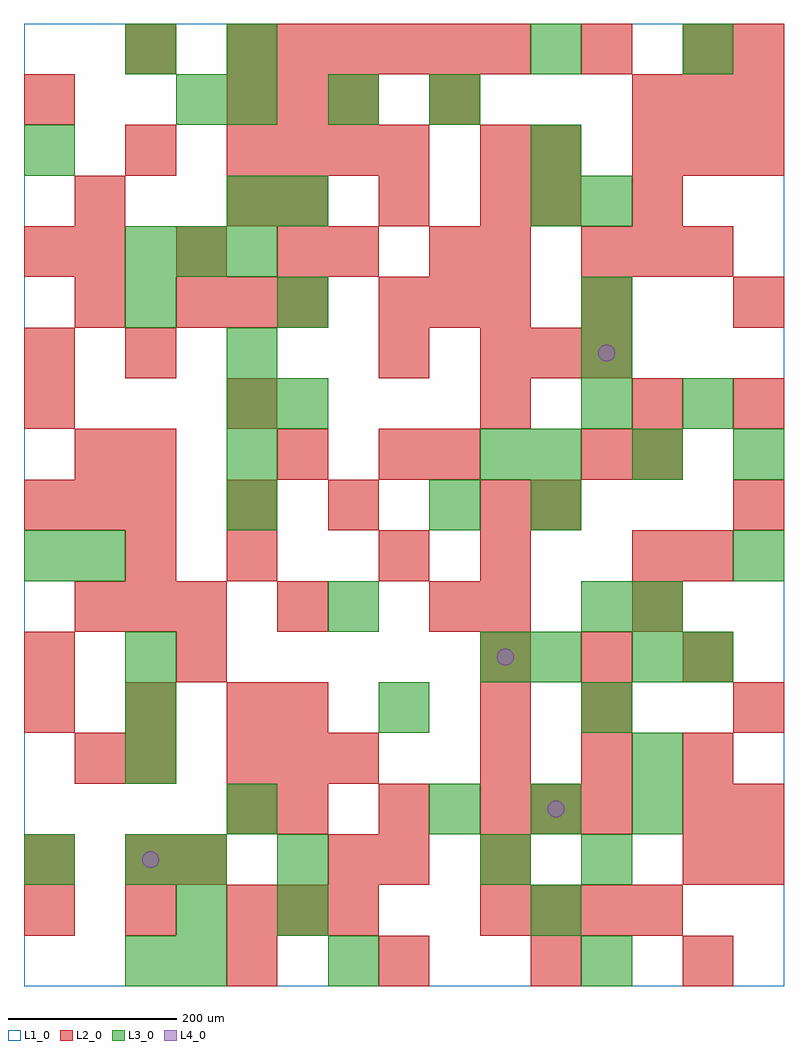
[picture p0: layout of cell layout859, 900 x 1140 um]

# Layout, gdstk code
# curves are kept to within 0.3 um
import gdstk
lib = gdstk.Library(unit=1e-6, precision=1e-09)
def R(c, l, rs):  # rectangles x0, y0, x1, y1
    for r in rs: c.add(gdstk.rectangle(r[:2], r[2:], *l))
def A(c, l, x, y, w, h, nx, ny, dx, dy):  # array of equal rectangles
    R(c, l, [(x+i*dx, y+j*dy, x+i*dx+w, y+j*dy+h) for i in range(nx) for j in range(ny)])
def P(c, l, *ps):  # polygons
    for p in ps: c.add(gdstk.Polygon(p, *l))
L1_0 = (1, 0)
L2_0 = (2, 0)
L3_0 = (3, 0)
L4_0 = (4, 0)

layout859 = lib.new_cell('layout859')
R(layout859, L1_0, [(0,0,900,1140)])
A(layout859, L2_0, 240, 0, 60, 60, 4, 1, 180, 0)
A(layout859, L2_0, 0, 60, 60, 60, 3, 2, 120, 240)
A(layout859, L2_0, 540, 60, 60, 60, 4, 1, 60, 0)
A(layout859, L2_0, 300, 180, 60, 60, 3, 2, 120, 720)
A(layout859, L2_0, 600, 180, 60, 60, 1, 3, 0, 360)
A(layout859, L2_0, 240, 240, 60, 60, 3, 2, 60, 780)
A(layout859, L2_0, 540, 240, 60, 60, 3, 2, 120, 120)
A(layout859, L2_0, 60, 420, 60, 60, 3, 1, 60, 0)
A(layout859, L2_0, 540, 420, 60, 60, 1, 3, 0, 60)
A(layout859, L2_0, 120, 480, 60, 60, 1, 3, 0, 120)
A(layout859, L2_0, 420, 480, 60, 60, 1, 3, 0, 120)
A(layout859, L2_0, 0, 540, 60, 60, 3, 1, 60, 0)
A(layout859, L2_0, 840, 540, 60, 60, 1, 3, 0, 120)
A(layout859, L2_0, 540, 720, 60, 60, 3, 1, 60, 0)
A(layout859, L2_0, 180, 780, 60, 60, 3, 1, 60, 0)
A(layout859, L2_0, 420, 780, 60, 60, 3, 1, 60, 0)
A(layout859, L2_0, 60, 840, 60, 60, 3, 1, 120, 0)
A(layout859, L2_0, 660, 840, 60, 60, 3, 1, 60, 0)
A(layout859, L2_0, 240, 960, 60, 60, 4, 1, 60, 0)
A(layout859, L2_0, 720, 960, 60, 60, 3, 2, 60, 60)
A(layout859, L2_0, 240, 1080, 60, 60, 6, 1, 60, 0)
R(layout859, L2_0, [(300,60,360,120), (360,60,420,120), (0,120,60,180), (120,120,180,180), (180,120,240,180), (360,120,420,180), (420,120,480,180), (540,120,600,180), (780,120,840,180), (840,120,900,180), (240,180,300,240), (660,180,720,240), (780,180,840,240), (840,180,900,240), (60,240,120,300), (120,240,180,300), (300,300,360,360), (540,300,600,360), (660,300,720,360), (840,300,900,360), (0,360,60,420), (180,360,240,420), (300,420,360,480), (480,420,540,480), (720,420,780,480), (240,480,300,540), (720,480,780,540), (780,480,840,540), (240,540,300,600), (360,540,420,600), (60,600,120,660), (300,600,360,660), (480,600,540,660), (660,600,720,660), (720,600,780,660), (0,660,60,720), (240,660,300,720), (540,660,600,720), (720,660,780,720), (0,720,60,780), (60,780,120,840), (660,780,720,840), (0,840,60,900), (360,840,420,900), (480,840,540,900), (540,840,600,900), (60,900,120,960), (240,900,300,960), (720,900,780,960), (120,960,180,1020), (540,960,600,1020), (600,960,660,1020), (0,1020,60,1080), (480,1020,540,1080), (120,1080,180,1140), (660,1080,720,1140), (780,1080,840,1140), (840,1080,900,1140)])
A(layout859, L3_0, 120, 0, 60, 60, 1, 3, 0, 120)
A(layout859, L3_0, 180, 0, 60, 60, 1, 3, 0, 60)
A(layout859, L3_0, 540, 120, 60, 60, 1, 3, 0, 240)
A(layout859, L3_0, 480, 180, 60, 60, 3, 1, 120, 0)
A(layout859, L3_0, 240, 540, 60, 60, 1, 4, 0, 60)
A(layout859, L3_0, 600, 600, 60, 60, 3, 1, 120, 0)
A(layout859, L3_0, 300, 660, 60, 60, 1, 3, 0, 120)
A(layout859, L3_0, 660, 660, 60, 60, 1, 3, 0, 60)
A(layout859, L3_0, 120, 840, 60, 60, 3, 1, 60, 0)
A(layout859, L3_0, 240, 1020, 60, 60, 3, 1, 120, 0)
R(layout859, L3_0, [(360,0,420,60), (660,0,720,60), (300,60,360,120), (600,60,660,120), (0,120,60,180), (300,120,360,180), (660,120,720,180), (240,180,300,240), (720,240,780,300), (120,300,180,360), (420,300,480,360), (660,300,720,360), (120,360,180,420), (600,360,660,420), (720,360,780,420), (780,360,840,420), (360,420,420,480), (660,420,720,480), (720,420,780,480), (0,480,60,540), (60,480,120,540), (840,480,900,540), (480,540,540,600), (600,540,660,600), (780,660,840,720), (120,780,180,840), (240,900,300,960), (600,900,660,960), (660,900,720,960), (0,960,60,1020), (600,960,660,1020), (180,1020,240,1080), (120,1080,180,1140), (240,1080,300,1140), (600,1080,660,1140), (780,1080,840,1140)])
P(layout859, L4_0, [(160,150),(159.239,153.827),(157.071,157.071),(153.827,159.239),(150,160),(146.173,159.239),(142.929,157.071),(140.761,153.827),(140,150),(140.761,146.173),(142.929,142.929),(146.173,140.761),(150,140),(153.827,140.761),(157.071,142.929),(159.239,146.173)],
  [(580,390),(579.239,393.827),(577.071,397.071),(573.827,399.239),(570,400),(566.173,399.239),(562.929,397.071),(560.761,393.827),(560,390),(560.761,386.173),(562.929,382.929),(566.173,380.761),(570,380),(573.827,380.761),(577.071,382.929),(579.239,386.173)],
  [(640,210),(639.239,213.827),(637.071,217.071),(633.827,219.239),(630,220),(626.173,219.239),(622.929,217.071),(620.761,213.827),(620,210),(620.761,206.173),(622.929,202.929),(626.173,200.761),(630,200),(633.827,200.761),(637.071,202.929),(639.239,206.173)],
  [(700,750),(699.239,753.827),(697.071,757.071),(693.827,759.239),(690,760),(686.173,759.239),(682.929,757.071),(680.761,753.827),(680,750),(680.761,746.173),(682.929,742.929),(686.173,740.761),(690,740),(693.827,740.761),(697.071,742.929),(699.239,746.173)])

lib.write_gds('layout859.gds')
